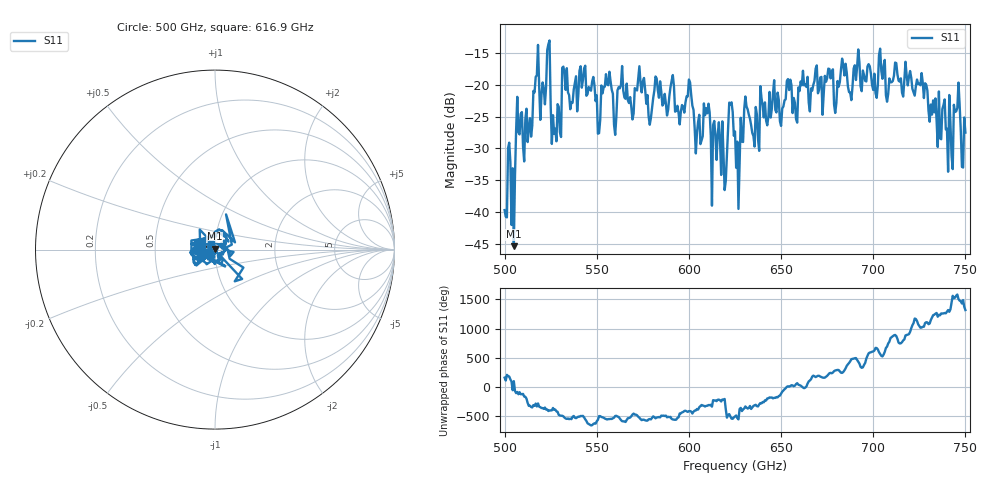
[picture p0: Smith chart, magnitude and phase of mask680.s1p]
!Created with skrf (http://scikit-rf.org).
# GHz S MA R 50.0
!freq magS11 angS11
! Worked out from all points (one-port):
!   401 points, 500 GHz to 750 GHz, reference 50 ohm
!   lowest |S11| = -45.4 dB at 505 GHz (marker M1), VSWR 1.01, Z = 49.9 + j0.536 ohm
!   |S11| at or under -10 dB: start of sweep to end of sweep
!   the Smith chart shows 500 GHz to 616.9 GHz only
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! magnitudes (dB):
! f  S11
! 500 GHz  -39.7
! 503.1 GHz  -32.1
! 505 GHz  -45.4
! 507.5 GHz  -27.5
! 513.8 GHz  -25.3
! 516.9 GHz  -18.8
! 520.6 GHz  -19.6
! 523.8 GHz  -13.6
! 526.9 GHz  -27.7
! 531.2 GHz  -17.3
! 542.5 GHz  -19.2
! 550.6 GHz  -27.7
! 562.5 GHz  -20.6
! 593.8 GHz  -23.3
! 609.4 GHz  -23.7
! 618.8 GHz  -30.9
! 622.5 GHz  -23.1
! 625 GHz  -27.3
! 626.2 GHz  -28.9
! 631.2 GHz  -23.4
! 636.9 GHz  -24.7
! 656.2 GHz  -24.5
! 676.9 GHz  -19.0
! 680 GHz  -22.8
! 683.8 GHz  -16.9
! 687.5 GHz  -21.2
! 718.8 GHz  -20.1
! 750 GHz  -27.5
